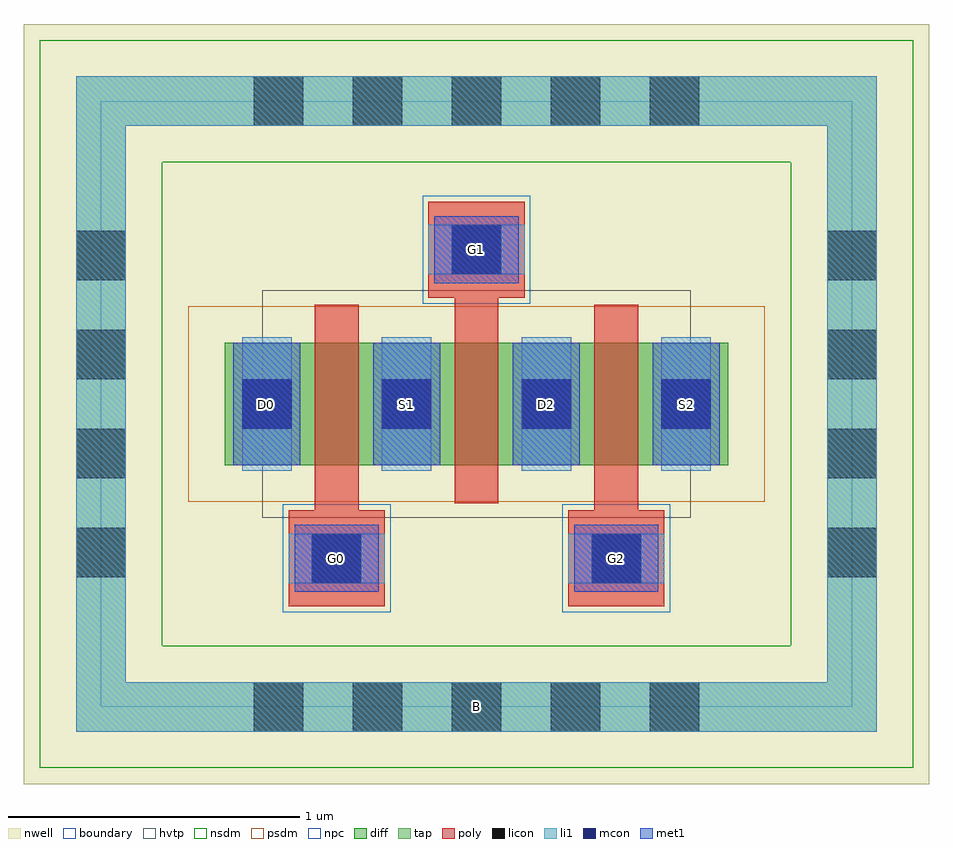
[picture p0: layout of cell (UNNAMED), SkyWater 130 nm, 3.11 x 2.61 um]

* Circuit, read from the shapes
.subckt (UNNAMED) B D0 D2 G0 G1 G2 S1 S2
XM1 S1 G0 D0 B sky130_fd_pr__pfet_01v8_hvt w=0.42 l=0.15
XM2 D2 G1 S1 B sky130_fd_pr__pfet_01v8_hvt w=0.42 l=0.15
XM3 S2 G2 D2 B sky130_fd_pr__pfet_01v8_hvt w=0.42 l=0.15
.ends

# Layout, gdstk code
import gdstk
lib = gdstk.Library(unit=1e-6, precision=1e-09)
def R(c, l, rs):  # rectangles x0, y0, x1, y1
    for r in rs: c.add(gdstk.rectangle(r[:2], r[2:], *l))
def A(c, l, x, y, w, h, nx, ny, dx, dy):  # array of equal rectangles
    R(c, l, [(x+i*dx, y+j*dy, x+i*dx+w, y+j*dy+h) for i in range(nx) for j in range(ny)])
nwell = (64, 20)
diff = (65, 20)
tap = (65, 44)
poly = (66, 20)
licon = (66, 44)
li1 = (67, 20)
mcon = (67, 44)
met1 = (68, 20)
hvtp = (78, 44)
nsdm = (93, 44)
psdm = (94, 20)
npc = (95, 20)
boundary = (235, 4)

c__unnamed_ = lib.new_cell('(UNNAMED)')
R(c__unnamed_, nwell, [(-1.555,-1.305,1.555,1.305)])
R(c__unnamed_, diff, [(-0.865,-0.21,0.865,0.21)])
R(c__unnamed_, tap, [(-1.375,-1.125,1.375,-0.955), (-1.375,-0.955,-1.205,0.955), (1.205,-0.955,1.375,0.955), (-1.375,0.955,1.375,1.125)])
R(c__unnamed_, poly, [(-0.645,-0.695,-0.315,-0.365), (0.315,-0.695,0.645,-0.365), (-0.555,-0.365,-0.405,0.34), (0.405,-0.365,0.555,0.34), (-0.075,-0.34,0.075,0.365), (-0.165,0.365,0.165,0.695)])
A(c__unnamed_, licon, -0.765, -1.125, 0.17, 0.17, 5, 2, 0.34, 2.08)
A(c__unnamed_, licon, -1.375, -0.595, 0.17, 0.17, 1, 4, 0, 0.34)
A(c__unnamed_, licon, 1.205, -0.595, 0.17, 0.17, 1, 4, 0, 0.34)
A(c__unnamed_, licon, -0.805, -0.085, 0.17, 0.17, 4, 1, 0.48, 0)
R(c__unnamed_, licon, [(-0.565,-0.615,-0.395,-0.445), (0.395,-0.615,0.565,-0.445), (-0.085,0.445,0.085,0.615)])
A(c__unnamed_, li1, -0.805, -0.23, 0.17, 0.46, 4, 1, 0.48, 0)
R(c__unnamed_, li1, [(-1.375,-1.125,1.375,-0.955), (-1.375,-0.955,-1.205,0.955), (1.205,-0.955,1.375,0.955), (-0.645,-0.615,-0.315,-0.445), (0.315,-0.615,0.645,-0.445), (-0.165,0.445,0.165,0.615), (-1.375,0.955,1.375,1.125)])
A(c__unnamed_, mcon, -0.805, -0.085, 0.17, 0.17, 4, 1, 0.48, 0)
R(c__unnamed_, mcon, [(-0.565,-0.615,-0.395,-0.445), (0.395,-0.615,0.565,-0.445), (-0.085,0.445,0.085,0.615)])
A(c__unnamed_, met1, -0.835, -0.21, 0.23, 0.42, 4, 1, 0.48, 0)
R(c__unnamed_, met1, [(-0.625,-0.645,-0.335,-0.415), (0.335,-0.645,0.625,-0.415), (-0.145,0.415,0.145,0.645)])
R(c__unnamed_, hvtp, [(-0.735,-0.39,0.735,0.39)])
R(c__unnamed_, nsdm, [(-1.5,-1.25,1.5,-0.83), (-1.5,-0.83,-1.08,0.83), (1.08,-0.83,1.5,0.83), (-1.5,0.83,1.5,1.25)])
R(c__unnamed_, psdm, [(-0.99,-0.335,0.99,0.335)])
R(c__unnamed_, npc, [(-0.665,-0.715,-0.295,-0.345), (0.295,-0.715,0.665,-0.345), (-0.185,0.345,0.185,0.715)])
R(c__unnamed_, boundary, [(-1.29,-1.04,1.29,1.04)])
c__unnamed_.add(gdstk.Label('B', (0,-1.04), layer=67, texttype=5))
c__unnamed_.add(gdstk.Label('D0', (-0.72,0), layer=67, texttype=5))
c__unnamed_.add(gdstk.Label('G0', (-0.48,-0.53), layer=67, texttype=5))
c__unnamed_.add(gdstk.Label('S1', (-0.24,0), layer=67, texttype=5))
c__unnamed_.add(gdstk.Label('G1', (0,0.53), layer=67, texttype=5))
c__unnamed_.add(gdstk.Label('D2', (0.24,0), layer=67, texttype=5))
c__unnamed_.add(gdstk.Label('S2', (0.72,0), layer=67, texttype=5))
c__unnamed_.add(gdstk.Label('G2', (0.48,-0.53), layer=67, texttype=5))

lib.write_gds('_UNNAMED_.gds')
